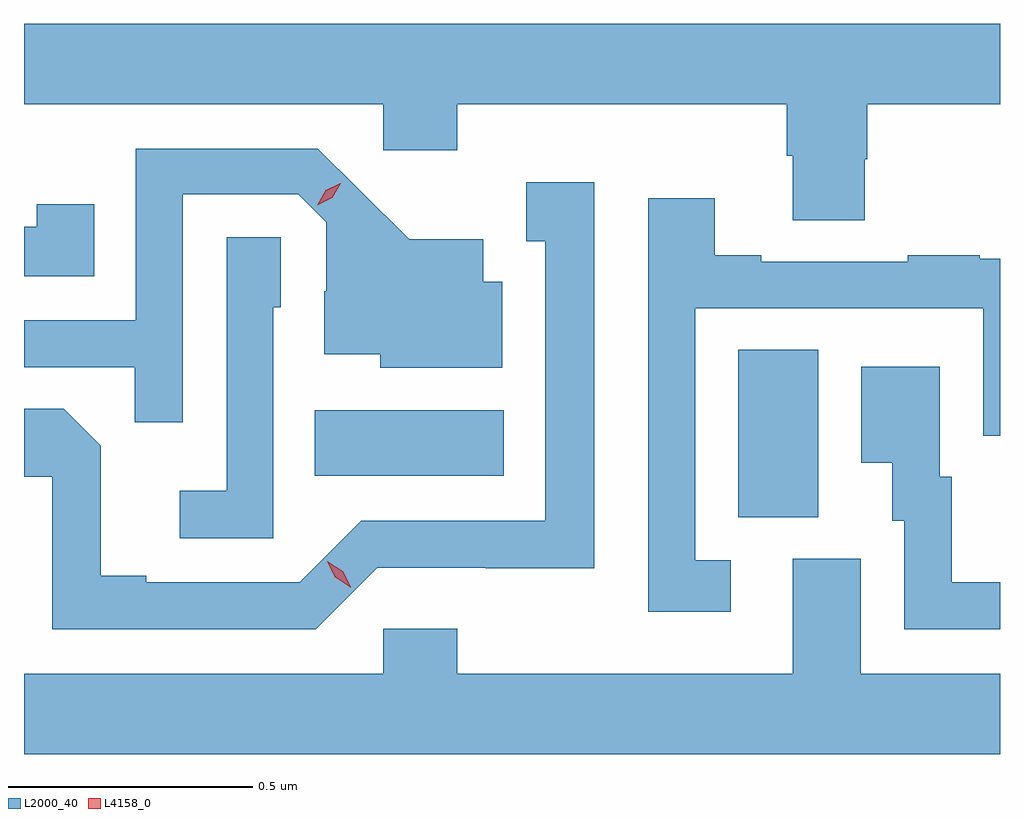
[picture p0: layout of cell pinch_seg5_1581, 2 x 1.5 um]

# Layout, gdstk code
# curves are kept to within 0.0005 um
import gdstk
lib = gdstk.Library(unit=1e-6, precision=1e-09)
def R(c, l, rs):  # rectangles x0, y0, x1, y1
    for r in rs: c.add(gdstk.rectangle(r[:2], r[2:], *l))
def P(c, l, *ps):  # polygons
    for p in ps: c.add(gdstk.Polygon(p, *l))
L2000_40 = (2000, 40)
L4158_0 = (4158, 0)

pinch_seg5_1581 = lib.new_cell('pinch_seg5_1581')
R(pinch_seg5_1581, L2000_40, [(302.516,851.917,302.68,852.26), (301.648,852.002,302.035,852.136)])
P(pinch_seg5_1581, L2000_40, [(302.775,852.651),(302.78,852.651),(302.78,852.764),(303.052,852.764),(303.052,852.928),(301.052,852.928),(301.052,852.764),(301.788,852.764),(301.788,852.669),(301.94,852.669),(301.94,852.764),(302.615,852.764),(302.615,852.658),(302.627,852.658),(302.627,852.526),(302.775,852.526)],
  [(301.377,852.579),(301.614,852.579),(301.671,852.522),(301.671,852.38),(301.667,852.38),(301.667,852.251),(301.782,852.251),(301.782,852.224),(302.032,852.224),(302.032,852.4),(301.993,852.4),(301.993,852.487),(301.841,852.487),(301.654,852.672),(301.281,852.672),(301.281,852.321),(301.052,852.321),(301.052,852.225),(301.279,852.225),(301.279,852.112),(301.377,852.112)],
  [(301.776,851.814),(301.998,851.814),(301.998,851.813),(302.221,851.813),(302.221,852.604),(302.081,852.604),(302.081,852.483),(302.12,852.483),(302.12,851.91),(301.743,851.91),(301.617,851.784),(301.303,851.784),(301.303,851.797),(301.209,851.797),(301.209,852.064),(301.133,852.14),(301.052,852.14),(301.052,852),(301.11,852),(301.11,851.688),(301.65,851.688)],
  [(302.5,851.829),(302.427,851.829),(302.427,852.345),(303.018,852.345),(303.018,852.084),(303.052,852.084),(303.052,852.447),(303.011,852.447),(303.011,852.454),(302.863,852.454),(302.863,852.441),(302.563,852.441),(302.563,852.454),(302.467,852.454),(302.467,852.571),(302.331,852.571),(302.331,851.724),(302.5,851.724)],
  [(301.196,852.559),(301.078,852.559),(301.078,852.512),(301.052,852.512),(301.052,852.411),(301.196,852.411)],
  [(301.563,852.348),(301.578,852.348),(301.578,852.491),(301.467,852.491),(301.467,851.971),(301.371,851.971),(301.371,851.874),(301.563,851.874)],
  [(303.052,851.784),(302.953,851.784),(302.953,852),(302.929,852),(302.929,852.226),(302.768,852.226),(302.768,852.029),(302.831,852.029),(302.831,851.91),(302.856,851.91),(302.856,851.688),(303.052,851.688)],
  [(303.052,851.596),(302.767,851.596),(302.767,851.832),(302.627,851.832),(302.627,851.596),(301.94,851.596),(301.94,851.689),(301.788,851.689),(301.788,851.596),(301.052,851.596),(301.052,851.432),(303.052,851.432)])
P(pinch_seg5_1581, L4158_0, [(301.721,851.774),(301.69,851.794),(301.673,851.826),(301.673,851.827),(301.673,851.827),(301.705,851.807),(301.722,851.775),(301.722,851.774)],
  [(301.653,852.557),(301.653,852.557),(301.67,852.587),(301.7,852.602),(301.701,852.602),(301.701,852.602),(301.684,852.572),(301.653,852.557)])

lib.write_gds('pinch_seg5_1581.gds')
